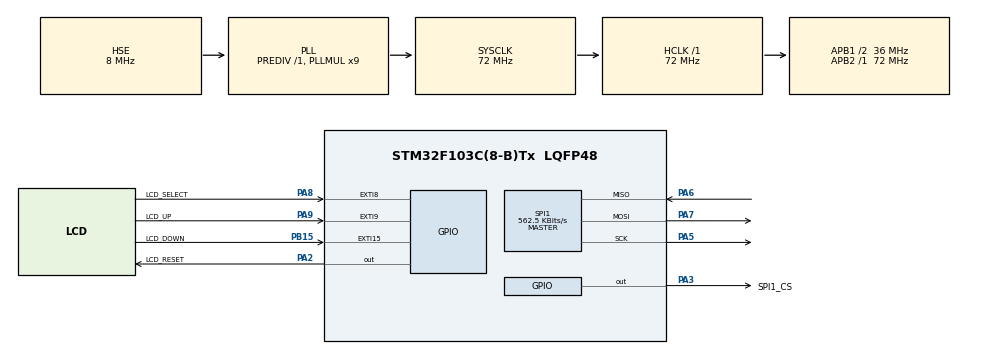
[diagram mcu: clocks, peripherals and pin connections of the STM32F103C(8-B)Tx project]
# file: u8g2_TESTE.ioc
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Mcu.Family=STM32F1
Mcu.Name=STM32F103C(8-B)Tx
Mcu.Package=LQFP48
NVIC.EXTI15_10_IRQn=true\:0\:0\:false\:false\:true\:true\:true\:true
NVIC.EXTI9_5_IRQn=true\:0\:0\:false\:false\:true\:true\:true\:true
NVIC.PriorityGroup=NVIC_PRIORITYGROUP_4
PA0-WKUP.Mode=SYS_WakeUp0
PA0-WKUP.Signal=SYS_WKUP
PA13.Mode=Trace_Asynchronous_SW
PA13.Signal=SYS_JTMS-SWDIO
PA14.Mode=Trace_Asynchronous_SW
PA14.Signal=SYS_JTCK-SWCLK
PA2.GPIO_Label=LCD_RESET
PA2.Signal=GPIO_Output
PA3.GPIO_Label=SPI1_CS
PA3.Signal=GPIO_Output
PA5.Mode=Full_Duplex_Master
PA5.Signal=SPI1_SCK
PA6.Mode=Full_Duplex_Master
PA6.Signal=SPI1_MISO
PA7.Mode=Full_Duplex_Master
PA7.Signal=SPI1_MOSI
PA8.GPIO_Label=LCD_SELECT
PA8.Signal=GPXTI8
PA9.GPIO_Label=LCD_UP
PA9.Signal=GPXTI9
PB15.GPIO_Label=LCD_DOWN
PB15.Signal=GPXTI15
PB3.Mode=Trace_Asynchronous_SW
PB3.Signal=SYS_JTDO-TRACESWO
PD0-OSC_IN.Mode=HSE-External-Oscillator
PD0-OSC_IN.Signal=RCC_OSC_IN
PD1-OSC_OUT.Mode=HSE-External-Oscillator
PD1-OSC_OUT.Signal=RCC_OSC_OUT
ProjectManager.HeapSize=0x200
ProjectManager.StackSize=0x400
ProjectManager.TargetToolchain=MDK-ARM V5
RCC.AHBFreq_Value=72000000
RCC.APB1CLKDivider=RCC_HCLK_DIV2
RCC.APB1Freq_Value=36000000
RCC.APB1TimFreq_Value=72000000
RCC.APB2Freq_Value=72000000
RCC.APB2TimFreq_Value=72000000
RCC.HCLKFreq_Value=72000000
RCC.PLLMUL=RCC_PLL_MUL9
RCC.PLLSourceVirtual=RCC_PLLSOURCE_HSE
RCC.RCC_MCOSource=RCC_MCO1SOURCE_PLLCLK
RCC.SYSCLKFreq_VALUE=72000000
RCC.SYSCLKSource=RCC_SYSCLKSOURCE_PLLCLK
RCC.USBFreq_Value=72000000
SPI1.BaudRatePrescaler=SPI_BAUDRATEPRESCALER_128
SPI1.CLKPhase=SPI_PHASE_2EDGE
SPI1.CLKPolarity=SPI_POLARITY_HIGH
SPI1.CalculateBaudRate=562.5 KBits/s
SPI1.Direction=SPI_DIRECTION_2LINES
SPI1.Mode=SPI_MODE_MASTER
SPI1.VirtualType=VM_MASTER
board=custom

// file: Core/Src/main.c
/* USER CODE BEGIN Header */
/**
  **************************
  * @file           : main.c
  * @brief          : Main program body
  **************************
  * @attention
  *
  * Copyright (c) 2025 STMicroelectronics.
  * All rights reserved.
  *
  * This software is licensed under terms that can be found in the LICENSE file
  * in the root directory of this software component.
  * If no LICENSE file comes with this software, it is provided AS-IS.
  *
  **************************
  */
/* USER CODE END Header */
#include "main.h"

/* USER CODE BEGIN Includes */
#include "u8g2.h"
#include "display_u8g2.h"
#include <stdbool.h>

/* USER CODE END Includes */

SPI_HandleTypeDef hspi1;

/* USER CODE BEGIN PV */
u8g2_t u8g2;

//Botoes
bool buttonUp = false; //menu e callback
bool buttonSelect = false; //menu e callback
bool buttonDown = false; //menu e callback

/* USER CODE END PV */

void SystemClock_Config(void);
static void MX_GPIO_Init(void);
static void MX_SPI1_Init(void);
/* USER CODE BEGIN PFP */
uint8_t u8g2_gpio_and_delay_stm32(U8X8_UNUSED u8x8_t *u8x8, U8X8_UNUSED uint8_t msg,U8X8_UNUSED uint8_t arg_int, U8X8_UNUSED void *arg_ptr);
uint8_t u8x8_byte_4wire_hw_spi(u8x8_t *u8x8, uint8_t msg, uint8_t arg_int, void *arg_ptr);

/* USER CODE END PFP */

int main(void)
{

  /* MCU Configuration--------------------------------------------------------*/

  /* Reset of all peripherals, Initializes the Flash interface and the Systick. */
  HAL_Init();

  /* Configure the system clock */
  SystemClock_Config();

  /* Initialize all configured peripherals */
  MX_GPIO_Init();
  MX_SPI1_Init();
  /* USER CODE BEGIN 2 */
	u8g2_Setup_st7920_s_128x64_f2(&u8g2, U8G2_R0, u8x8_byte_4wire_hw_spi, u8g2_gpio_and_delay_stm32);
	u8g2_InitDisplay(&u8g2);
	u8g2_SetPowerSave(&u8g2, 0);

	HAL_GPIO_WritePin(LCD_RESET_GPIO_Port, LCD_RESET_Pin, GPIO_PIN_RESET);
	HAL_Delay(100);
	HAL_GPIO_WritePin(LCD_RESET_GPIO_Port, LCD_RESET_Pin, GPIO_PIN_SET);
	HAL_Delay(100);
  /* USER CODE END 2 */

  /* Infinite loop */
  /* USER CODE BEGIN WHILE */
  while (1)
  {
		static unsigned long drawDelay = 0;
		logicaMenu(buttonUp, buttonSelect, buttonDown);
		if (HAL_GetTick() - drawDelay >= 200){draw(&u8g2);}

    /* USER CODE END WHILE */

  }
}

void SystemClock_Config(void)
{
  RCC_OscInitTypeDef RCC_OscInitStruct = {0};
  RCC_ClkInitTypeDef RCC_ClkInitStruct = {0};

  /** Initializes the RCC Oscillators according to the specified parameters
  * in the RCC_OscInitTypeDef structure.
  */
  RCC_OscInitStruct.OscillatorType = RCC_OSCILLATORTYPE_HSE;
  RCC_OscInitStruct.HSEState = RCC_HSE_ON;
  RCC_OscInitStruct.HSEPredivValue = RCC_HSE_PREDIV_DIV1;
  RCC_OscInitStruct.HSIState = RCC_HSI_ON;
  RCC_OscInitStruct.PLL.PLLState = RCC_PLL_ON;
  RCC_OscInitStruct.PLL.PLLSource = RCC_PLLSOURCE_HSE;
  RCC_OscInitStruct.PLL.PLLMUL = RCC_PLL_MUL9;
  if (HAL_RCC_OscConfig(&RCC_OscInitStruct) != HAL_OK)
  {
    Error_Handler();
  }

  /** Initializes the CPU, AHB and APB buses clocks
  */
  RCC_ClkInitStruct.ClockType = RCC_CLOCKTYPE_HCLK|RCC_CLOCKTYPE_SYSCLK
                              |RCC_CLOCKTYPE_PCLK1|RCC_CLOCKTYPE_PCLK2;
  RCC_ClkInitStruct.SYSCLKSource = RCC_SYSCLKSOURCE_PLLCLK;
  RCC_ClkInitStruct.AHBCLKDivider = RCC_SYSCLK_DIV1;
  RCC_ClkInitStruct.APB1CLKDivider = RCC_HCLK_DIV2;
  RCC_ClkInitStruct.APB2CLKDivider = RCC_HCLK_DIV1;

  if (HAL_RCC_ClockConfig(&RCC_ClkInitStruct, FLASH_LATENCY_2) != HAL_OK)
  {
    Error_Handler();
  }
}

static void MX_SPI1_Init(void)
{

  /* SPI1 parameter configuration*/
  hspi1.Instance = SPI1;
  hspi1.Init.Mode = SPI_MODE_MASTER;
  hspi1.Init.Direction = SPI_DIRECTION_2LINES;
  hspi1.Init.DataSize = SPI_DATASIZE_8BIT;
  hspi1.Init.CLKPolarity = SPI_POLARITY_HIGH;
  hspi1.Init.CLKPhase = SPI_PHASE_2EDGE;
  hspi1.Init.NSS = SPI_NSS_SOFT;
  hspi1.Init.BaudRatePrescaler = SPI_BAUDRATEPRESCALER_128;
  hspi1.Init.FirstBit = SPI_FIRSTBIT_MSB;
  hspi1.Init.TIMode = SPI_TIMODE_DISABLE;
  hspi1.Init.CRCCalculation = SPI_CRCCALCULATION_DISABLE;
  hspi1.Init.CRCPolynomial = 7;
  if (HAL_SPI_Init(&hspi1) != HAL_OK)
  {
    Error_Handler();
  }

}

static void MX_GPIO_Init(void)
{
  GPIO_InitTypeDef GPIO_InitStruct = {0};

  /* GPIO Ports Clock Enable */
  __HAL_RCC_GPIOC_CLK_ENABLE();
  __HAL_RCC_GPIOD_CLK_ENABLE();
  __HAL_RCC_GPIOA_CLK_ENABLE();
  __HAL_RCC_GPIOB_CLK_ENABLE();

  /*Configure GPIO pin Output Level */
  HAL_GPIO_WritePin(GPIOA, LCD_RESET_Pin|SPI1_CS_Pin, GPIO_PIN_RESET);

  /*Configure GPIO pins : LCD_RESET_Pin SPI1_CS_Pin */
  GPIO_InitStruct.Pin = LCD_RESET_Pin|SPI1_CS_Pin;
  GPIO_InitStruct.Mode = GPIO_MODE_OUTPUT_PP;
  GPIO_InitStruct.Pull = GPIO_NOPULL;
  GPIO_InitStruct.Speed = GPIO_SPEED_FREQ_LOW;
  HAL_GPIO_Init(GPIOA, &GPIO_InitStruct);

  /*Configure GPIO pin : LCD_DOWN_Pin */
  GPIO_InitStruct.Pin = LCD_DOWN_Pin;
  GPIO_InitStruct.Mode = GPIO_MODE_IT_RISING;
  GPIO_InitStruct.Pull = GPIO_NOPULL;
  HAL_GPIO_Init(LCD_DOWN_GPIO_Port, &GPIO_InitStruct);

  /*Configure GPIO pins : LCD_SELECT_Pin LCD_UP_Pin */
  GPIO_InitStruct.Pin = LCD_SELECT_Pin|LCD_UP_Pin;
  GPIO_InitStruct.Mode = GPIO_MODE_IT_RISING;
  GPIO_InitStruct.Pull = GPIO_NOPULL;
  HAL_GPIO_Init(GPIOA, &GPIO_InitStruct);

  /* EXTI interrupt init*/
  HAL_NVIC_SetPriority(EXTI9_5_IRQn, 0, 0);
  HAL_NVIC_EnableIRQ(EXTI9_5_IRQn);

  HAL_NVIC_SetPriority(EXTI15_10_IRQn, 0, 0);
  HAL_NVIC_EnableIRQ(EXTI15_10_IRQn);

/* USER CODE BEGIN MX_GPIO_Init_2 */

// Configuração dos pinos SPI1: PA5 (SCK) e PA7 (MOSI)
	GPIO_InitStruct.Pin = GPIO_PIN_5 | GPIO_PIN_7;
	GPIO_InitStruct.Mode = GPIO_MODE_AF_PP;
	GPIO_InitStruct.Speed = GPIO_SPEED_FREQ_HIGH;
	HAL_GPIO_Init(GPIOA, &GPIO_InitStruct);

/* USER CODE END MX_GPIO_Init_2 */
}

/* USER CODE BEGIN 4 */
void HAL_GPIO_EXTI_Callback(uint16_t GPIO_Pin)
{

	//Botao cima
	if (HAL_GPIO_ReadPin(LCD_UP_GPIO_Port, LCD_UP_Pin) == GPIO_PIN_RESET){
		buttonUp = true;
} else {buttonUp = false;}

	//Botao select
	if (HAL_GPIO_ReadPin(LCD_SELECT_GPIO_Port, LCD_SELECT_Pin) == GPIO_PIN_RESET){
		buttonSelect = true;
} else {buttonSelect = false;}

	//Botao baixo
	if (HAL_GPIO_ReadPin(LCD_DOWN_GPIO_Port, LCD_DOWN_Pin) == GPIO_PIN_RESET){
		buttonDown = true;
} else {buttonDown = false;}
}

uint8_t u8x8_byte_4wire_hw_spi(u8x8_t *u8x8, uint8_t msg, uint8_t arg_int, void *arg_ptr)
{
  uint8_t byte;
  uint8_t *data;

  switch(msg)
  {
    case U8X8_MSG_BYTE_SEND:
//      data = (uint8_t *)arg_ptr;
//      while( arg_int > 0 )
//      {
//        byte = *data;
//        data++;
//        arg_int--;
//        HAL_SPI_Transmit(&hspi1, &byte, 1, 100);
//      }
			HAL_SPI_Transmit(&hspi1, arg_ptr, arg_int, 100);
      break;
    case U8X8_MSG_BYTE_START_TRANSFER:
      HAL_GPIO_WritePin(SPI1_CS_GPIO_Port, SPI1_CS_Pin, GPIO_PIN_SET);
      __nop(); // 21 ns
      break;
	case U8X8_MSG_BYTE_END_TRANSFER:
			__nop();
			HAL_GPIO_WritePin(SPI1_CS_GPIO_Port, SPI1_CS_Pin, GPIO_PIN_RESET);
			break;
    default:
      return 0;
  }
  return 1;
}

uint8_t u8g2_gpio_and_delay_stm32(U8X8_UNUSED u8x8_t *u8x8, U8X8_UNUSED uint8_t msg,U8X8_UNUSED uint8_t arg_int, U8X8_UNUSED void *arg_ptr) {
    return 1;
}

/* USER CODE END 4 */

void Error_Handler(void)
{
  __disable_irq();
  while (1)
  {
  }
}
